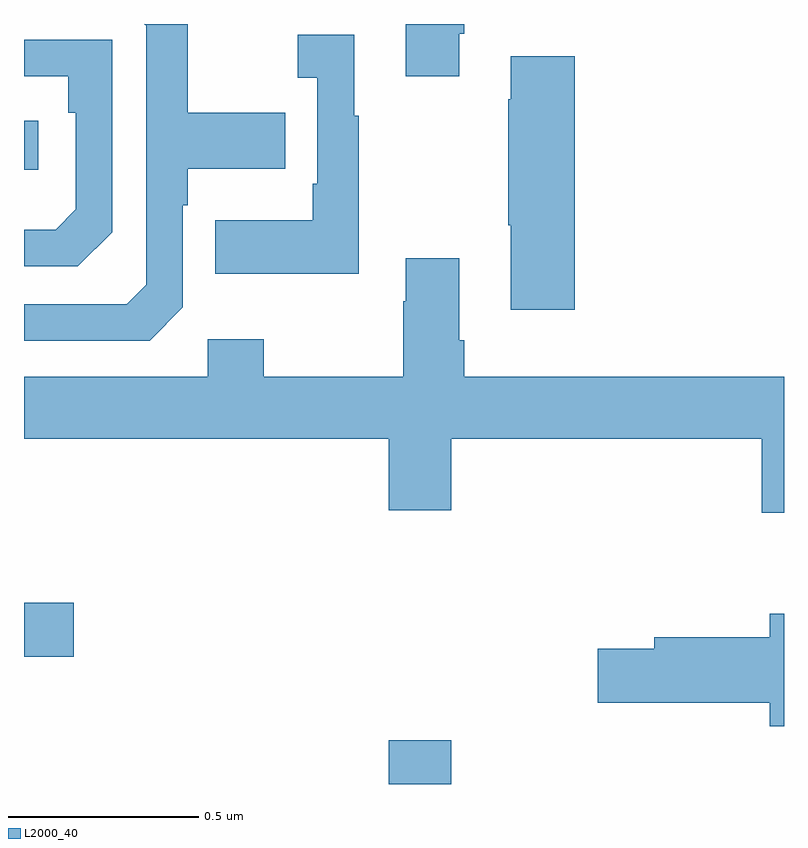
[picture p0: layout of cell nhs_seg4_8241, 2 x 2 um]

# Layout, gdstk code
import gdstk
lib = gdstk.Library(unit=1e-6, precision=1e-09)
def R(c, l, rs):  # rectangles x0, y0, x1, y1
    for r in rs: c.add(gdstk.rectangle(r[:2], r[2:], *l))
def P(c, l, *ps):  # polygons
    for p in ps: c.add(gdstk.Polygon(p, *l))
L2000_40 = (2000, 40)

nhs_seg4_8241 = lib.new_cell('nhs_seg4_8241')
R(nhs_seg4_8241, L2000_40, [(212.96,807.9,213.124,808.015), (212,808.235,212.131,808.377), (212,809.516,212.038,809.646)])
P(nhs_seg4_8241, L2000_40, [(213.145,809.875),(213.158,809.875),(213.158,809.9),(213.005,809.9),(213.005,809.763),(213.145,809.763)],
  [(212.418,809.154),(212.418,809.423),(212.431,809.423),(212.431,809.519),(212.687,809.519),(212.687,809.667),(212.431,809.667),(212.431,809.9),(212.317,809.9),(212.322,809.895),(212.322,809.214),(212.271,809.163),(212,809.163),(212,809.067),(212.331,809.067)],
  [(212.881,809.659),(212.869,809.659),(212.869,809.872),(212.721,809.872),(212.721,809.759),(212.772,809.759),(212.772,809.479),(212.76,809.479),(212.76,809.383),(212.503,809.383),(212.503,809.243),(212.881,809.243)],
  [(212.232,809.352),(212.232,809.859),(212,809.859),(212,809.763),(212.116,809.763),(212.116,809.666),(212.136,809.666),(212.136,809.412),(212.083,809.359),(212,809.359),(212,809.262),(212.142,809.262)],
  [(213.449,809.815),(213.281,809.815),(213.281,809.702),(213.274,809.702),(213.274,809.371),(213.281,809.371),(213.281,809.148),(213.449,809.148)],
  [(214,808.972),(213.158,808.972),(213.158,809.068),(213.145,809.068),(213.145,809.284),(213.005,809.284),(213.005,809.171),(212.998,809.171),(212.998,808.972),(212.631,808.972),(212.631,809.071),(212.484,809.071),(212.484,808.972),(212,808.972),(212,808.808),(212.96,808.808),(212.96,808.62),(213.124,808.62),(213.124,808.808),(213.941,808.808),(213.941,808.614),(214,808.614)],
  [(214,808.348),(213.962,808.348),(213.962,808.286),(213.659,808.286),(213.659,808.256),(213.51,808.256),(213.51,808.114),(213.962,808.114),(213.962,808.052),(214,808.052)])

lib.write_gds('nhs_seg4_8241.gds')
